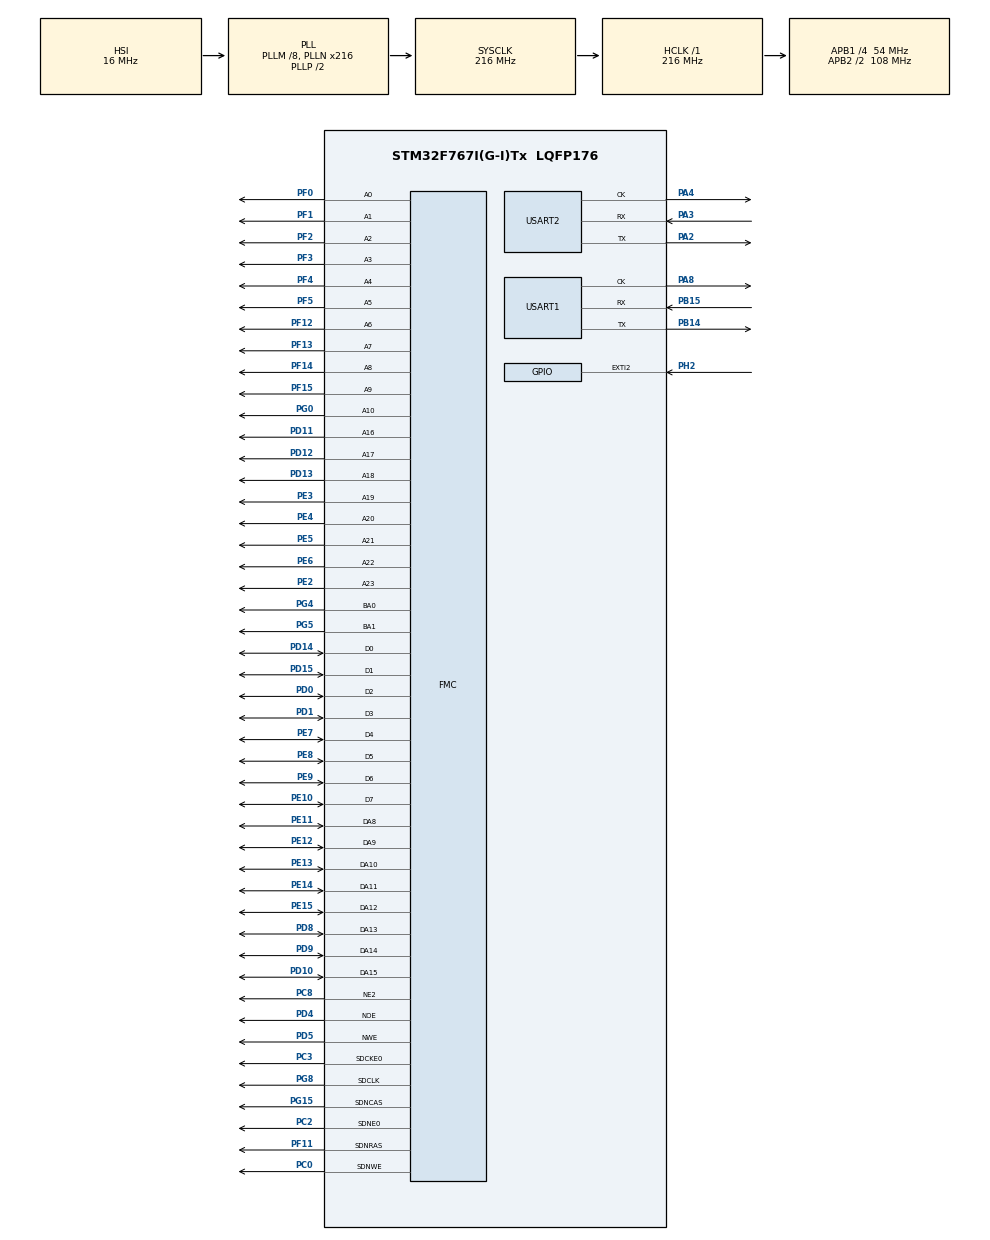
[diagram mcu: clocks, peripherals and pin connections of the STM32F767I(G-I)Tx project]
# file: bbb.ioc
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SH.FMC_D7_DA7.1=FMC_DA7,24b-da1
SH.FMC_D7_DA7.0=FMC_D7,sd-8b-d1
VP_STMicroelectronics.X-CUBE-AI_VS_ArtificialOoIntelligenceJjXAaCUBEAaAI_6.0.0.Mode=ArtificialOoIntelligenceJjXAaCUBEAaAI
SH.FMC_A0.0=FMC_A0,11b-sda1
PG4.Signal=FMC_A14_BA0
PG8.Signal=FMC_SDCLK
PG0.Signal=FMC_A10
STMicroelectronics.X-CUBE-AI.6.0.0.StackSize=0x4000
SH.FMC_D5_DA5.1=FMC_DA5,24b-da1
SH.FMC_D5_DA5.0=FMC_D5,sd-8b-d1
SH.FMC_A19.0=FMC_A19,24b-da1
PH2.GPIO_ModeDefaultEXTI=GPIO_MODE_IT_FALLING
SH.FMC_NWE.0=FMC_NWE,MuxedPsram1
RCC.SYSCLKSource=RCC_SYSCLKSOURCE_PLLCLK
SH.FMC_A15_BA1.0=FMC_BA1,FourSdramBanks1
SH.FMC_D9_DA9.0=FMC_DA9,24b-da1
PA4.Mode=Synchronous
SH.FMC_SDNWE.0=FMC_SDNWE,11b-sda1
SH.FMC_D11_DA11.0=FMC_DA11,24b-da1
PD4.Signal=FMC_NOE
RCC.APB2TimFreq_Value=216000000
PH1/OSC_OUT.Signal=RCC_OSC_OUT
PC3.Signal=FMC_SDCKE0
PD0.Signal=FMC_D2_DA2
PD8.Signal=FMC_D13_DA13
PE5.Signal=FMC_A21
SH.FMC_A18.0=FMC_A18,24b-da1
PE9.Signal=FMC_D6_DA6
SH.FMC_A2.0=FMC_A2,11b-sda1
PB14.Mode=Synchronous
PE2.Signal=FMC_A23
PA8.Signal=USART1_CK
SH.FMC_D1_DA1.0=FMC_D1,sd-8b-d1
SH.FMC_D1_DA1.1=FMC_DA1,24b-da1
PF3.Signal=FMC_A3
VP_FREERTOS_VS_CMSIS_V1.Mode=CMSIS_V1
PE10.Signal=FMC_D7_DA7
Mcu.Package=LQFP176
NVIC.TimeBase=TIM1_UP_TIM10_IRQn
PD12.Signal=FMC_A17_ALE
STMicroelectronics.X-CUBE-ALGOBUILD.1.2.0.LibraryCcDSPOoLibraryJjDSPOoLibrary=true
NVIC.TimeBaseIP=TIM1
SH.FMC_A1.0=FMC_A1,11b-sda1
PH2.Signal=GPXTI2
RCC.APB2CLKDivider=RCC_HCLK_DIV2
NVIC.EXTI2_IRQn=true\:5\:0\:false\:false\:true\:true\:true\:true
SH.FMC_SDCLK.0=FMC_SDCLK,11b-sda1
PF14.Signal=FMC_A8
RCC.APB1TimFreq_Value=108000000
PD15.Signal=FMC_D1_DA1
SH.FMC_D3_DA3.0=FMC_D3,sd-8b-d1
SH.FMC_D3_DA3.1=FMC_DA3,24b-da1
SH.FMC_A4.0=FMC_A4,11b-sda1
FREERTOS.Tasks01=defaultTask,0,1280,StartDefaultTask,Default,NULL,Dynamic,NULL,NULL;myTask02,-3,128,StartTask02,Default,NULL,Dynamic,NULL,NULL;myTask03,-3,128,StartTask03,Default,NULL,Dynamic,NULL,NULL
PG5.Signal=FMC_A15_BA1
SH.FMC_D10_DA10.0=FMC_DA10,24b-da1
PC2.Signal=FMC_SDNE0
PD1.Signal=FMC_D3_DA3
PC0.Signal=FMC_SDNWE
RCC.APB1CLKDivider=RCC_HCLK_DIV4
SH.FMC_NOE.0=FMC_NOE,MuxedPsram1
PD10.Signal=FMC_D15_DA15
PA3.Mode=Synchronous
SH.FMC_A3.0=FMC_A3,11b-sda1
USART2.VirtualMode-Synchronous=VM_SYNC
SH.FMC_D15_DA15.0=FMC_DA15,24b-da1
PB14.Signal=USART1_TX
SH.FMC_A6.0=FMC_A6,11b-sda1
PE14.Signal=FMC_D11_DA11
PE15.Signal=FMC_D12_DA12
SH.FMC_A21.0=FMC_A21,24b-da1
PE8.Signal=FMC_D5_DA5
PF13.Signal=FMC_A7
SH.FMC_SDNCAS.0=FMC_SDNCAS,11b-sda1
PC8.Mode=NorPsramChipSelect2_1
PA4.Signal=USART2_CK
PD11.Signal=FMC_A16_CLE
SH.FMC_A5.0=FMC_A5,11b-sda1
ProjectManager.HeapSize=0x4000
SH.FMC_A20.0=FMC_A20,24b-da1
NVIC.TIM1_UP_TIM10_IRQn=true\:0\:0\:false\:false\:true\:false\:false\:true
NVIC.PriorityGroup=NVIC_PRIORITYGROUP_4
PE3.Signal=FMC_A19
PA8.Mode=Synchronous
PF4.Signal=FMC_A4
Mcu.Family=STM32F7
PC3.Mode=SdramChipSelect1_1
SH.FMC_A8.0=FMC_A8,11b-sda1
RCC.CortexFreq_Value=216000000
SH.FMC_D14_DA14.0=FMC_DA14,24b-da1
SH.FMC_A23.0=FMC_A23,24b-da1
USART1.VirtualMode-Synchronous=VM_SYNC
SH.FMC_D6_DA6.1=FMC_DA6,24b-da1
SH.FMC_D6_DA6.0=FMC_D6,sd-8b-d1
SH.FMC_A14_BA0.0=FMC_BA0,FourSdramBanks1
PB15.Signal=USART1_RX
PG15.Signal=FMC_SDNCAS
ProjectManager.StackSize=0x8000
PH2.GPIO_PuPd=GPIO_NOPULL
PD13.Signal=FMC_A18
SH.FMC_A7.0=FMC_A7,11b-sda1
SH.FMC_A22.0=FMC_A22,24b-da1
PH0/OSC_IN.Mode=HSE-External-Oscillator
RCC.HCLKFreq_Value=216000000
PF12.Signal=FMC_A6
SH.FMC_A10.0=FMC_A10,11b-sda1
RCC.AHBFreq_Value=216000000
RCC.HSE_VALUE=25000000
SH.FMC_D8_DA8.0=FMC_DA8,24b-da1
SH.FMC_D2_DA2.0=FMC_D2,sd-8b-d1
SH.FMC_D2_DA2.1=FMC_DA2,24b-da1
PE13.Signal=FMC_D10_DA10
STMicroelectronics.X-CUBE-AI.6.0.0.XAaCUBEAaAICcArtificialOoIntelligenceJjCore=true
VP_SYS_VS_tim1.Mode=TIM1
PF11.Signal=FMC_SDNRAS
SH.FMC_SDNRAS.0=FMC_SDNRAS,11b-sda1
PE4.Signal=FMC_A20
PH1/OSC_OUT.Mode=HSE-External-Oscillator
FREERTOS.configTOTAL_HEAP_SIZE=15360
SH.FMC_D0_DA0.0=FMC_D0,sd-8b-d1
SH.FMC_D0_DA0.1=FMC_DA0,24b-da1
SH.FMC_A9.0=FMC_A9,11b-sda1
SH.FMC_D4_DA4.1=FMC_DA4,24b-da1
SH.FMC_D4_DA4.0=FMC_D4,sd-8b-d1
PF5.Signal=FMC_A5
PF0.Signal=FMC_A0
PE7.Signal=FMC_D4_DA4
VP_STMicroelectronics.X-CUBE-ALGOBUILD_VS_DSPOoLibraryJjLibrary_1.2.0_1.2.0.Mode=DSPOoLibraryJjLibrary
PA3.Signal=USART2_RX
CORTEX_M7.CPU_ICache=Enabled
PC8.Signal=FMC_NE2
PC2.Mode=SdramChipSelect1_1
PD9.Signal=FMC_D14_DA14
PD5.Signal=FMC_NWE
SH.FMC_A17_ALE.0=FMC_A17,24b-da1
ProjectManager.TargetToolchain=STM32CubeIDE
SH.FMC_D13_DA13.0=FMC_DA13,24b-da1
SH.FMC_A16_CLE.0=FMC_A16,24b-da1
PF2.Signal=FMC_A2
RCC.USBFreq_Value=216000000
PE11.Signal=FMC_D8_DA8
RCC.LSE_VALUE=32768
board=custom
RCC.VCOOutputFreq_Value=432000000
PB15.Mode=Synchronous
PH0/OSC_IN.Signal=RCC_OSC_IN
RCC.APB2Freq_Value=108000000
SH.FMC_D12_DA12.0=FMC_DA12,24b-da1
PF15.Signal=FMC_A9
PF1.Signal=FMC_A1
PE6.Signal=FMC_A22
Mcu.Name=STM32F767I(G-I)Tx
PE12.Signal=FMC_D9_DA9
PA2.Signal=USART2_TX
PD14.Signal=FMC_D0_DA0
RCC.SYSCLKFreq_VALUE=216000000
STMicroelectronics.X-CUBE-AI.6.0.0.HeapSize=0x4000
RCC.HSI_VALUE=16000000
RCC.PLLM=8
RCC.PLLN=216
PA2.Mode=Synchronous
CORTEX_M7.CPU_DCache=Enabled
RCC.APB1Freq_Value=54000000
VP_CRC_VS_CRC.Mode=CRC_Activate

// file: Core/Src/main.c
/* USER CODE BEGIN Header */
/**
  ******************************************************************************
  * @file           : main.c
  * @brief          : Main program body
  ******************************************************************************
  * @attention
  *
  * <h2><center>&copy; Copyright (c) 2021 STMicroelectronics.
  * All rights reserved.</center></h2>
  *
  * This software component is licensed by ST under Ultimate Liberty license
  * SLA0044, the "License"; You may not use this file except in compliance with
  * the License. You may obtain a copy of the License at:
  *                             www.st.com/SLA0044
  *
  ******************************************************************************
  */
/* USER CODE END Header */
#include "main.h"
#include "cmsis_os.h"

/* USER CODE BEGIN Includes */
#include <stdio.h>
#include "blas_tasks.h"
/* USER CODE END Includes */

CRC_HandleTypeDef hcrc;

USART_HandleTypeDef husart1;
USART_HandleTypeDef husart2;

SRAM_HandleTypeDef hsram1;
SDRAM_HandleTypeDef hsdram1;

osThreadId defaultTaskHandle;
osThreadId myTask02Handle;
osThreadId myTask03Handle;

void SystemClock_Config(void);
static void MX_GPIO_Init(void);
static void MX_USART1_Init(void);
static void MX_USART2_Init(void);
static void MX_CRC_Init(void);
static void MX_FMC_Init(void);
void StartDefaultTask(void const * argument);
void StartTask02(void const * argument);
void StartTask03(void const * argument);

/* USER CODE BEGIN 0 */
SemaphoreHandle_t xSemaphore;

/* USER CODE BEGIN 0 */
#ifdef __GNUC__
	#define PUTCHAR_PROTOTYPE int __io_putchar(int ch)
#else
	#define PUTCHAR_PROTOTYPE int fputc(int ch, FILE *f)
#endif

PUTCHAR_PROTOTYPE
{
	HAL_StatusTypeDef result = HAL_USART_Transmit(&husart2, (uint8_t *)&ch, 1, HAL_MAX_DELAY);
    return ch;
}

void HAL_GPIO_EXTI_Callback(uint16_t GPIO_Pin)
{

	 /*if(GPIO_Pin == GPIO_PIN_1)
	 {
		 static BaseType_t xHigherPriorityTaskWoken;
		 xHigherPriorityTaskWoken = pdFALSE;

		 xSemaphoreGiveFromISR( semFFT, &xHigherPriorityTaskWoken );

		 portYIELD_FROM_ISR( xHigherPriorityTaskWoken );
	 }
	 */

	 if(GPIO_Pin == GPIO_PIN_2)
	 {
		 static BaseType_t xHigherPriorityTaskWoken;
		 xHigherPriorityTaskWoken = pdFALSE;

		 //xSemaphoreGiveFromISR( semCNN, &xHigherPriorityTaskWoken );
		 xSemaphoreGiveFromISR( xSemaphore, &xHigherPriorityTaskWoken );

		 portYIELD_FROM_ISR( xHigherPriorityTaskWoken );

	 }
}
/* USER CODE END 0 */

int main(void)
{

  /* Enable I-Cache---------------------------------------------------------*/
  SCB_EnableICache();

  /* Enable D-Cache---------------------------------------------------------*/
  SCB_EnableDCache();

  /* MCU Configuration--------------------------------------------------------*/

  /* Reset of all peripherals, Initializes the Flash interface and the Systick. */
  HAL_Init();

  /* Configure the system clock */
  SystemClock_Config();

  /* Initialize all configured peripherals */
  MX_GPIO_Init();
  MX_USART1_Init();
  MX_USART2_Init();
  MX_CRC_Init();
  MX_FMC_Init();

  /* USER CODE BEGIN RTOS_SEMAPHORES */
  /* add semaphores, ... */

	semFFT = xSemaphoreCreateBinary();

	  printf("1 create semaphore...\n");
	  xSemaphore = xSemaphoreCreateBinary();

  /* USER CODE END RTOS_SEMAPHORES */

  /* Create the thread(s) */
  /* definition and creation of defaultTask */
  osThreadDef(defaultTask, StartDefaultTask, osPriorityNormal, 0, 1280);
  defaultTaskHandle = osThreadCreate(osThread(defaultTask), NULL);

  /* definition and creation of myTask02 */
  osThreadDef(myTask02, StartTask02, osPriorityIdle, 0, 128);
  myTask02Handle = osThreadCreate(osThread(myTask02), NULL);

  /* definition and creation of myTask03 */
  osThreadDef(myTask03, StartTask03, osPriorityIdle, 0, 128);
  myTask03Handle = osThreadCreate(osThread(myTask03), NULL);

  /* USER CODE BEGIN RTOS_THREADS */
  /* add threads, ... */
  //radarInit();
  /* USER CODE END RTOS_THREADS */

  /* Start scheduler */
  osKernelStart();

  /* We should never get here as control is now taken by the scheduler */
  /* Infinite loop */
  while (1)
  {

  }
}

void SystemClock_Config(void)
{
  RCC_OscInitTypeDef RCC_OscInitStruct = {0};
  RCC_ClkInitTypeDef RCC_ClkInitStruct = {0};
  RCC_PeriphCLKInitTypeDef PeriphClkInitStruct = {0};

  /** Configure the main internal regulator output voltage
  */
  __HAL_RCC_PWR_CLK_ENABLE();
  __HAL_PWR_VOLTAGESCALING_CONFIG(PWR_REGULATOR_VOLTAGE_SCALE1);
  /** Initializes the RCC Oscillators according to the specified parameters
  * in the RCC_OscInitTypeDef structure.
  */
  RCC_OscInitStruct.OscillatorType = RCC_OSCILLATORTYPE_HSI;
  RCC_OscInitStruct.HSIState = RCC_HSI_ON;
  RCC_OscInitStruct.HSICalibrationValue = RCC_HSICALIBRATION_DEFAULT;
  RCC_OscInitStruct.PLL.PLLState = RCC_PLL_ON;
  RCC_OscInitStruct.PLL.PLLSource = RCC_PLLSOURCE_HSI;
  RCC_OscInitStruct.PLL.PLLM = 8;
  RCC_OscInitStruct.PLL.PLLN = 216;
  RCC_OscInitStruct.PLL.PLLP = RCC_PLLP_DIV2;
  RCC_OscInitStruct.PLL.PLLQ = 2;
  if (HAL_RCC_OscConfig(&RCC_OscInitStruct) != HAL_OK)
  {
    Error_Handler();
  }
  /** Activate the Over-Drive mode
  */
  if (HAL_PWREx_EnableOverDrive() != HAL_OK)
  {
    Error_Handler();
  }
  /** Initializes the CPU, AHB and APB buses clocks
  */
  RCC_ClkInitStruct.ClockType = RCC_CLOCKTYPE_HCLK|RCC_CLOCKTYPE_SYSCLK
                              |RCC_CLOCKTYPE_PCLK1|RCC_CLOCKTYPE_PCLK2;
  RCC_ClkInitStruct.SYSCLKSource = RCC_SYSCLKSOURCE_PLLCLK;
  RCC_ClkInitStruct.AHBCLKDivider = RCC_SYSCLK_DIV1;
  RCC_ClkInitStruct.APB1CLKDivider = RCC_HCLK_DIV4;
  RCC_ClkInitStruct.APB2CLKDivider = RCC_HCLK_DIV2;

  if (HAL_RCC_ClockConfig(&RCC_ClkInitStruct, FLASH_LATENCY_7) != HAL_OK)
  {
    Error_Handler();
  }
  PeriphClkInitStruct.PeriphClockSelection = RCC_PERIPHCLK_USART1|RCC_PERIPHCLK_USART2;
  PeriphClkInitStruct.Usart1ClockSelection = RCC_USART1CLKSOURCE_PCLK2;
  PeriphClkInitStruct.Usart2ClockSelection = RCC_USART2CLKSOURCE_PCLK1;
  if (HAL_RCCEx_PeriphCLKConfig(&PeriphClkInitStruct) != HAL_OK)
  {
    Error_Handler();
  }
}

static void MX_CRC_Init(void)
{

  hcrc.Instance = CRC;
  hcrc.Init.DefaultPolynomialUse = DEFAULT_POLYNOMIAL_ENABLE;
  hcrc.Init.DefaultInitValueUse = DEFAULT_INIT_VALUE_ENABLE;
  hcrc.Init.InputDataInversionMode = CRC_INPUTDATA_INVERSION_NONE;
  hcrc.Init.OutputDataInversionMode = CRC_OUTPUTDATA_INVERSION_DISABLE;
  hcrc.InputDataFormat = CRC_INPUTDATA_FORMAT_BYTES;
  if (HAL_CRC_Init(&hcrc) != HAL_OK)
  {
    Error_Handler();
  }

}

static void MX_USART1_Init(void)
{

  husart1.Instance = USART1;
  husart1.Init.BaudRate = 115200;
  husart1.Init.WordLength = USART_WORDLENGTH_8B;
  husart1.Init.StopBits = USART_STOPBITS_1;
  husart1.Init.Parity = USART_PARITY_NONE;
  husart1.Init.Mode = USART_MODE_TX_RX;
  husart1.Init.CLKPolarity = USART_POLARITY_LOW;
  husart1.Init.CLKPhase = USART_PHASE_1EDGE;
  husart1.Init.CLKLastBit = USART_LASTBIT_DISABLE;
  if (HAL_USART_Init(&husart1) != HAL_OK)
  {
    Error_Handler();
  }

}

static void MX_USART2_Init(void)
{

  husart2.Instance = USART2;
  husart2.Init.BaudRate = 115200;
  husart2.Init.WordLength = USART_WORDLENGTH_8B;
  husart2.Init.StopBits = USART_STOPBITS_1;
  husart2.Init.Parity = USART_PARITY_NONE;
  husart2.Init.Mode = USART_MODE_TX_RX;
  husart2.Init.CLKPolarity = USART_POLARITY_LOW;
  husart2.Init.CLKPhase = USART_PHASE_1EDGE;
  husart2.Init.CLKLastBit = USART_LASTBIT_DISABLE;
  if (HAL_USART_Init(&husart2) != HAL_OK)
  {
    Error_Handler();
  }

}

/* FMC initialization function */
static void MX_FMC_Init(void)
{

  FMC_NORSRAM_TimingTypeDef Timing = {0};
  FMC_SDRAM_TimingTypeDef SdramTiming = {0};

  /** Perform the SRAM1 memory initialization sequence
  */
  hsram1.Instance = FMC_NORSRAM_DEVICE;
  hsram1.Extended = FMC_NORSRAM_EXTENDED_DEVICE;
  /* hsram1.Init */
  hsram1.Init.NSBank = FMC_NORSRAM_BANK2;
  hsram1.Init.DataAddressMux = FMC_DATA_ADDRESS_MUX_ENABLE;
  hsram1.Init.MemoryType = FMC_MEMORY_TYPE_PSRAM;
  hsram1.Init.MemoryDataWidth = FMC_NORSRAM_MEM_BUS_WIDTH_16;
  hsram1.Init.BurstAccessMode = FMC_BURST_ACCESS_MODE_DISABLE;
  hsram1.Init.WaitSignalPolarity = FMC_WAIT_SIGNAL_POLARITY_LOW;
  hsram1.Init.WaitSignalActive = FMC_WAIT_TIMING_BEFORE_WS;
  hsram1.Init.WriteOperation = FMC_WRITE_OPERATION_DISABLE;
  hsram1.Init.WaitSignal = FMC_WAIT_SIGNAL_DISABLE;
  hsram1.Init.ExtendedMode = FMC_EXTENDED_MODE_DISABLE;
  hsram1.Init.AsynchronousWait = FMC_ASYNCHRONOUS_WAIT_DISABLE;
  hsram1.Init.WriteBurst = FMC_WRITE_BURST_DISABLE;
  hsram1.Init.ContinuousClock = FMC_CONTINUOUS_CLOCK_SYNC_ONLY;
  hsram1.Init.WriteFifo = FMC_WRITE_FIFO_ENABLE;
  hsram1.Init.PageSize = FMC_PAGE_SIZE_NONE;
  /* Timing */
  Timing.AddressSetupTime = 15;
  Timing.AddressHoldTime = 15;
  Timing.DataSetupTime = 255;
  Timing.BusTurnAroundDuration = 15;
  Timing.CLKDivision = 16;
  Timing.DataLatency = 17;
  Timing.AccessMode = FMC_ACCESS_MODE_A;
  /* ExtTiming */

  if (HAL_SRAM_Init(&hsram1, &Timing, NULL) != HAL_OK)
  {
    Error_Handler( );
  }

  /** Perform the SDRAM1 memory initialization sequence
  */
  hsdram1.Instance = FMC_SDRAM_DEVICE;
  /* hsdram1.Init */
  hsdram1.Init.SDBank = FMC_SDRAM_BANK1;
  hsdram1.Init.ColumnBitsNumber = FMC_SDRAM_COLUMN_BITS_NUM_8;
  hsdram1.Init.RowBitsNumber = FMC_SDRAM_ROW_BITS_NUM_11;
  hsdram1.Init.MemoryDataWidth = FMC_SDRAM_MEM_BUS_WIDTH_8;
  hsdram1.Init.InternalBankNumber = FMC_SDRAM_INTERN_BANKS_NUM_4;
  hsdram1.Init.CASLatency = FMC_SDRAM_CAS_LATENCY_1;
  hsdram1.Init.WriteProtection = FMC_SDRAM_WRITE_PROTECTION_DISABLE;
  hsdram1.Init.SDClockPeriod = FMC_SDRAM_CLOCK_DISABLE;
  hsdram1.Init.ReadBurst = FMC_SDRAM_RBURST_DISABLE;
  hsdram1.Init.ReadPipeDelay = FMC_SDRAM_RPIPE_DELAY_0;
  /* SdramTiming */
  SdramTiming.LoadToActiveDelay = 16;
  SdramTiming.ExitSelfRefreshDelay = 16;
  SdramTiming.SelfRefreshTime = 16;
  SdramTiming.RowCycleDelay = 16;
  SdramTiming.WriteRecoveryTime = 16;
  SdramTiming.RPDelay = 16;
  SdramTiming.RCDDelay = 16;

  if (HAL_SDRAM_Init(&hsdram1, &SdramTiming) != HAL_OK)
  {
    Error_Handler( );
  }

}

static void MX_GPIO_Init(void)
{
  GPIO_InitTypeDef GPIO_InitStruct = {0};

  /* GPIO Ports Clock Enable */
  __HAL_RCC_GPIOE_CLK_ENABLE();
  __HAL_RCC_GPIOF_CLK_ENABLE();
  __HAL_RCC_GPIOH_CLK_ENABLE();
  __HAL_RCC_GPIOC_CLK_ENABLE();
  __HAL_RCC_GPIOA_CLK_ENABLE();
  __HAL_RCC_GPIOG_CLK_ENABLE();
  __HAL_RCC_GPIOB_CLK_ENABLE();
  __HAL_RCC_GPIOD_CLK_ENABLE();

  /*Configure GPIO pin : PH2 */
  GPIO_InitStruct.Pin = GPIO_PIN_2;
  GPIO_InitStruct.Mode = GPIO_MODE_IT_FALLING;
  GPIO_InitStruct.Pull = GPIO_NOPULL;
  HAL_GPIO_Init(GPIOH, &GPIO_InitStruct);

  /* EXTI interrupt init*/
  HAL_NVIC_SetPriority(EXTI2_IRQn, 5, 0);
  HAL_NVIC_EnableIRQ(EXTI2_IRQn);

}

/* USER CODE BEGIN 4 */
//#include "vmd.h"
/* USER CODE END 4 */

void StartDefaultTask(void const * argument)
{
  /* USER CODE BEGIN 5 */
	//testVMD();
  /* Infinite loop */
  //__asm
  //{
  //}

	osDelay(10*1000);

	 static BaseType_t xHigherPriorityTaskWoken = pdFALSE;

	 xSemaphoreGiveFromISR( xSemaphore, &xHigherPriorityTaskWoken );

	 xHigherPriorityTaskWoken = pdFALSE;
	 xSemaphoreGiveFromISR( xSemaphore, &xHigherPriorityTaskWoken );
  for(;;)
  {
    osDelay(1);
  }
  /* USER CODE END 5 */
}

/* USER CODE BEGIN Header_StartTask02 */
#include "vital_sign.h"
/**
* @brief Function implementing the myTask02 thread.
* @param argument: Not used
* @retval None
*/
/* USER CODE END Header_StartTask02 */
void StartTask02(void const * argument)
{
  /* USER CODE BEGIN StartTask02 */
  /* Infinite loop */
  //vitalSignDetect();

  printf("task 2 take semaphore...\n");
  if( xSemaphoreTake( xSemaphore, portTICK_RATE_MS*1000*300 ) == pdTRUE )
  {
	  printf("task 2  semaphore get.\n");

  }
  else
  {
	  printf("task 2 semaphore timeover.\n");
  }
  //return;
  for(;;)
  {
    osDelay(1);
  }
  /* USER CODE END StartTask02 */
}

/* USER CODE BEGIN Header_StartTask03 */
#include "occupancy.h"
/**
* @brief Function implementing the myTask03 thread.
* @param argument: Not used
* @retval None
*/
/* USER CODE END Header_StartTask03 */
void StartTask03(void const * argument)
{
  /* USER CODE BEGIN StartTask03 */
  //occupancyDetect();
  /* Infinite loop */
	  //return;

  printf("task 3 take semaphore...\n");
  if( xSemaphoreTake( xSemaphore, portTICK_RATE_MS*1000*300 ) == pdTRUE )
  {
	  printf("task 3  semaphore get.\n");

  }
  else
  {
	  printf("task 3 semaphore timeover.\n");
  }
  for(;;)
  {
    osDelay(1);
  }
  /* USER CODE END StartTask03 */
}

 /**
  * @brief  Period elapsed callback in non blocking mode
  * @note   This function is called  when TIM1 interrupt took place, inside
  * HAL_TIM_IRQHandler(). It makes a direct call to HAL_IncTick() to increment
  * a global variable "uwTick" used as application time base.
  * @param  htim : TIM handle
  * @retval None
  */
void HAL_TIM_PeriodElapsedCallback(TIM_HandleTypeDef *htim)
{
  if (htim->Instance == TIM1) {
    HAL_IncTick();
  }
}

void Error_Handler(void)
{
  __disable_irq();
  while (1)
  {
  }
}

/************************ (C) COPYRIGHT STMicroelectronics *****END OF FILE****/
